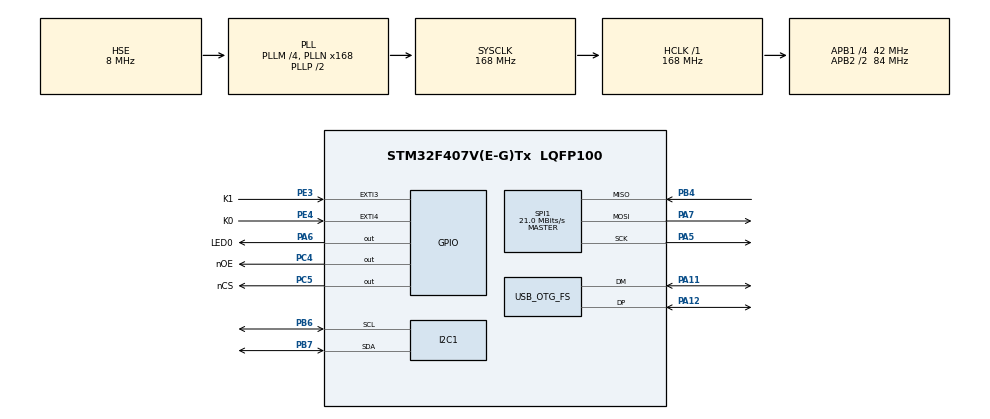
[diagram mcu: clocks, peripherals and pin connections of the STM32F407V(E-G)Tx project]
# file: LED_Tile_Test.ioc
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Mcu.Family=STM32F4
PE3.GPIO_ModeDefaultEXTI=GPIO_MODE_IT_FALLING
NVIC.EXTI4_IRQn=true\:0\:0\:false\:false\:true\:true\:true
USB_DEVICE.CLASS_NAME_FS=CDC
PH0-OSC_IN.Signal=RCC_OSC_IN
RCC.CortexFreq_Value=168000000
PA7.Mode=Full_Duplex_Master
SPI1.VirtualType=VM_MASTER
USB_DEVICE.VirtualModeFS=Cdc_FS
PC4.Signal=GPIO_Output
PE4.GPIO_ModeDefaultEXTI=GPIO_MODE_IT_FALLING
NVIC.EXTI3_IRQn=true\:0\:0\:false\:false\:true\:true\:true
PA11.Mode=Device_Only
PA6.GPIO_Label=LED0
USB_DEVICE.VirtualMode-CDC_FS=Cdc
RCC.APB1CLKDivider=RCC_HCLK_DIV4
PC5.GPIO_PuPd=GPIO_PULLUP
RCC.SYSCLKSource=RCC_SYSCLKSOURCE_PLLCLK
ProjectManager.StackSize=0x400
PA13.Signal=SYS_JTMS-SWDIO
PA12.Signal=USB_OTG_FS_DP
ProjectManager.TargetToolchain=STM32CubeIDE
I2C1.I2C_Mode=I2C_Fast
SPI1.Direction=SPI_DIRECTION_2LINES
RCC.HCLKFreq_Value=168000000
VP_USB_DEVICE_VS_USB_DEVICE_CDC_FS.Mode=CDC_FS
RCC.APB2TimFreq_Value=168000000
PB6.Signal=I2C1_SCL
PB6.Mode=I2C
SPI1.CalculateBaudRate=21.0 MBits/s
RCC.LSE_VALUE=32768
RCC.AHBFreq_Value=168000000
PH0-OSC_IN.Mode=HSE-External-Oscillator
PA5.Signal=SPI1_SCK
RCC.HSE_VALUE=8000000
board=custom
RCC.VCOOutputFreq_Value=336000000
RCC.APB2Freq_Value=84000000
PB4.Mode=Full_Duplex_Master
PC4.GPIO_Label=nOE
SPI1.Mode=SPI_MODE_MASTER
PA14.Mode=Serial_Wire
PE4.GPIO_Label=K0
PE3.GPIO_PuPd=GPIO_PULLUP
PH1-OSC_OUT.Signal=RCC_OSC_OUT
PB7.Signal=I2C1_SDA
PA13.Mode=Serial_Wire
PE4.Signal=GPXTI4
Mcu.Name=STM32F407V(E-G)Tx
VP_TIM1_VS_ClockSourceINT.Mode=Internal
PE4.GPIO_PuPd=GPIO_PULLUP
PH1-OSC_OUT.Mode=HSE-External-Oscillator
RCC.48MHZClocksFreq_Value=48000000
RCC.SYSCLKFreq_VALUE=168000000
Mcu.Package=LQFP100
PA6.Signal=GPIO_Output
PA12.Mode=Device_Only
PC5.GPIO_Label=nCS
NVIC.OTG_FS_IRQn=true\:0\:0\:false\:false\:true\:false\:true
PB7.Mode=I2C
PA11.Signal=USB_OTG_FS_DM
PA14.Signal=SYS_JTCK-SWCLK
USB_OTG_FS.VirtualMode=Device_Only
ProjectManager.HeapSize=0x200
NVIC.TIM1_UP_TIM10_IRQn=true\:0\:0\:false\:false\:true\:true\:true
RCC.HSI_VALUE=16000000
PA6.GPIO_ModeDefaultOutputPP=GPIO_MODE_OUTPUT_OD
RCC.PLLQ=7
NVIC.PriorityGroup=NVIC_PRIORITYGROUP_4
RCC.APB2CLKDivider=RCC_HCLK_DIV2
RCC.PLLM=4
RCC.PLLN=168
RCC.APB1TimFreq_Value=84000000
PE3.Signal=GPXTI3
PE3.GPIO_Label=K1
PC5.Signal=GPIO_Output
RCC.APB1Freq_Value=42000000
SPI1.BaudRatePrescaler=SPI_BAUDRATEPRESCALER_4
PB4.Signal=SPI1_MISO
PA5.Mode=Full_Duplex_Master
PA7.Signal=SPI1_MOSI

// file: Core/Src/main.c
/* USER CODE BEGIN Header */
/**
  ******************************************************************************
  * @file           : main.c
  * @brief          : Main program body
  ******************************************************************************
  * @attention
  *
  * <h2><center>&copy; Copyright (c) 2021 STMicroelectronics.
  * All rights reserved.</center></h2>
  *
  * This software component is licensed by ST under BSD 3-Clause license,
  * the "License"; You may not use this file except in compliance with the
  * License. You may obtain a copy of the License at:
  *                        opensource.org/licenses/BSD-3-Clause
  *
  ******************************************************************************
  */
/* USER CODE END Header */
#include "main.h"
#include "usb_device.h"

/* USER CODE BEGIN Includes */

#include "PCA9745/pca9745.h"
#include "LED_Tile/led_tile.h"
#include "math.h"

/* USER CODE END Includes */

I2C_HandleTypeDef hi2c1;

SPI_HandleTypeDef hspi1;

TIM_HandleTypeDef htim1;

/* USER CODE BEGIN PV */

float intensity = 1.0f;
LED_Tile tile;

/* USER CODE END PV */

void SystemClock_Config(void);
static void MX_GPIO_Init(void);
static void MX_I2C1_Init(void);
static void MX_SPI1_Init(void);
static void MX_TIM1_Init(void);

int main(void)
{

  /* MCU Configuration--------------------------------------------------------*/

  /* Reset of all peripherals, Initializes the Flash interface and the Systick. */
  HAL_Init();

  /* Configure the system clock */
  SystemClock_Config();

  /* Initialize all configured peripherals */
  MX_GPIO_Init();
  MX_I2C1_Init();
  MX_SPI1_Init();
  MX_USB_DEVICE_Init();
  MX_TIM1_Init();
  /* USER CODE BEGIN 2 */

  tile = Init_LED_Tile();

  for(uint8_t dev = 0; dev < NUM_TILES; dev++){
	  for(uint16_t i = 0; i < 6; i++){
		  LED_Tile_Set_LED_Intensity(&tile, dev, i, intensity);
	  }
  }

  _PCA9745_OE(tile.p, 0);

  /* USER CODE END 2 */

  /* Infinite loop */
  /* USER CODE BEGIN WHILE */

  while (1){
	LED_Tile_Test_All(&tile);
	LED_Tile_Clear_All(&tile);

	LED_Tile_Twinkle_Init(&tile, 500, 10);
	LED_Tile_Twinkle_Start(&tile, 100.0f);
	HAL_Delay(10000);
	LED_Tile_Twinkle_Stop(&tile);
    /* USER CODE END WHILE */

  }
}

void SystemClock_Config(void)
{
  RCC_OscInitTypeDef RCC_OscInitStruct = {0};
  RCC_ClkInitTypeDef RCC_ClkInitStruct = {0};

  /** Configure the main internal regulator output voltage
  */
  __HAL_RCC_PWR_CLK_ENABLE();
  __HAL_PWR_VOLTAGESCALING_CONFIG(PWR_REGULATOR_VOLTAGE_SCALE1);
  /** Initializes the RCC Oscillators according to the specified parameters
  * in the RCC_OscInitTypeDef structure.
  */
  RCC_OscInitStruct.OscillatorType = RCC_OSCILLATORTYPE_HSE;
  RCC_OscInitStruct.HSEState = RCC_HSE_ON;
  RCC_OscInitStruct.PLL.PLLState = RCC_PLL_ON;
  RCC_OscInitStruct.PLL.PLLSource = RCC_PLLSOURCE_HSE;
  RCC_OscInitStruct.PLL.PLLM = 4;
  RCC_OscInitStruct.PLL.PLLN = 168;
  RCC_OscInitStruct.PLL.PLLP = RCC_PLLP_DIV2;
  RCC_OscInitStruct.PLL.PLLQ = 7;
  if (HAL_RCC_OscConfig(&RCC_OscInitStruct) != HAL_OK)
  {
    Error_Handler();
  }
  /** Initializes the CPU, AHB and APB buses clocks
  */
  RCC_ClkInitStruct.ClockType = RCC_CLOCKTYPE_HCLK|RCC_CLOCKTYPE_SYSCLK
                              |RCC_CLOCKTYPE_PCLK1|RCC_CLOCKTYPE_PCLK2;
  RCC_ClkInitStruct.SYSCLKSource = RCC_SYSCLKSOURCE_PLLCLK;
  RCC_ClkInitStruct.AHBCLKDivider = RCC_SYSCLK_DIV1;
  RCC_ClkInitStruct.APB1CLKDivider = RCC_HCLK_DIV4;
  RCC_ClkInitStruct.APB2CLKDivider = RCC_HCLK_DIV2;

  if (HAL_RCC_ClockConfig(&RCC_ClkInitStruct, FLASH_LATENCY_5) != HAL_OK)
  {
    Error_Handler();
  }
}

static void MX_I2C1_Init(void)
{

  hi2c1.Instance = I2C1;
  hi2c1.Init.ClockSpeed = 400000;
  hi2c1.Init.DutyCycle = I2C_DUTYCYCLE_2;
  hi2c1.Init.OwnAddress1 = 0;
  hi2c1.Init.AddressingMode = I2C_ADDRESSINGMODE_7BIT;
  hi2c1.Init.DualAddressMode = I2C_DUALADDRESS_DISABLE;
  hi2c1.Init.OwnAddress2 = 0;
  hi2c1.Init.GeneralCallMode = I2C_GENERALCALL_DISABLE;
  hi2c1.Init.NoStretchMode = I2C_NOSTRETCH_DISABLE;
  if (HAL_I2C_Init(&hi2c1) != HAL_OK)
  {
    Error_Handler();
  }

}

static void MX_SPI1_Init(void)
{

  /* SPI1 parameter configuration*/
  hspi1.Instance = SPI1;
  hspi1.Init.Mode = SPI_MODE_MASTER;
  hspi1.Init.Direction = SPI_DIRECTION_2LINES;
  hspi1.Init.DataSize = SPI_DATASIZE_8BIT;
  hspi1.Init.CLKPolarity = SPI_POLARITY_LOW;
  hspi1.Init.CLKPhase = SPI_PHASE_1EDGE;
  hspi1.Init.NSS = SPI_NSS_SOFT;
  hspi1.Init.BaudRatePrescaler = SPI_BAUDRATEPRESCALER_4;
  hspi1.Init.FirstBit = SPI_FIRSTBIT_MSB;
  hspi1.Init.TIMode = SPI_TIMODE_DISABLE;
  hspi1.Init.CRCCalculation = SPI_CRCCALCULATION_DISABLE;
  hspi1.Init.CRCPolynomial = 10;
  if (HAL_SPI_Init(&hspi1) != HAL_OK)
  {
    Error_Handler();
  }

}

static void MX_TIM1_Init(void)
{

  TIM_ClockConfigTypeDef sClockSourceConfig = {0};
  TIM_MasterConfigTypeDef sMasterConfig = {0};

  htim1.Instance = TIM1;
  htim1.Init.Prescaler = 0;
  htim1.Init.CounterMode = TIM_COUNTERMODE_UP;
  htim1.Init.Period = 65535;
  htim1.Init.ClockDivision = TIM_CLOCKDIVISION_DIV1;
  htim1.Init.RepetitionCounter = 0;
  htim1.Init.AutoReloadPreload = TIM_AUTORELOAD_PRELOAD_DISABLE;
  if (HAL_TIM_Base_Init(&htim1) != HAL_OK)
  {
    Error_Handler();
  }
  sClockSourceConfig.ClockSource = TIM_CLOCKSOURCE_INTERNAL;
  if (HAL_TIM_ConfigClockSource(&htim1, &sClockSourceConfig) != HAL_OK)
  {
    Error_Handler();
  }
  sMasterConfig.MasterOutputTrigger = TIM_TRGO_RESET;
  sMasterConfig.MasterSlaveMode = TIM_MASTERSLAVEMODE_DISABLE;
  if (HAL_TIMEx_MasterConfigSynchronization(&htim1, &sMasterConfig) != HAL_OK)
  {
    Error_Handler();
  }

}

static void MX_GPIO_Init(void)
{
  GPIO_InitTypeDef GPIO_InitStruct = {0};

  /* GPIO Ports Clock Enable */
  __HAL_RCC_GPIOE_CLK_ENABLE();
  __HAL_RCC_GPIOH_CLK_ENABLE();
  __HAL_RCC_GPIOA_CLK_ENABLE();
  __HAL_RCC_GPIOC_CLK_ENABLE();
  __HAL_RCC_GPIOB_CLK_ENABLE();

  /*Configure GPIO pin Output Level */
  HAL_GPIO_WritePin(LED0_GPIO_Port, LED0_Pin, GPIO_PIN_RESET);

  /*Configure GPIO pin Output Level */
  HAL_GPIO_WritePin(GPIOC, nOE_Pin|nCS_Pin, GPIO_PIN_RESET);

  /*Configure GPIO pins : K1_Pin K0_Pin */
  GPIO_InitStruct.Pin = K1_Pin|K0_Pin;
  GPIO_InitStruct.Mode = GPIO_MODE_IT_FALLING;
  GPIO_InitStruct.Pull = GPIO_PULLUP;
  HAL_GPIO_Init(GPIOE, &GPIO_InitStruct);

  /*Configure GPIO pin : LED0_Pin */
  GPIO_InitStruct.Pin = LED0_Pin;
  GPIO_InitStruct.Mode = GPIO_MODE_OUTPUT_OD;
  GPIO_InitStruct.Pull = GPIO_NOPULL;
  GPIO_InitStruct.Speed = GPIO_SPEED_FREQ_LOW;
  HAL_GPIO_Init(LED0_GPIO_Port, &GPIO_InitStruct);

  /*Configure GPIO pin : nOE_Pin */
  GPIO_InitStruct.Pin = nOE_Pin;
  GPIO_InitStruct.Mode = GPIO_MODE_OUTPUT_PP;
  GPIO_InitStruct.Pull = GPIO_NOPULL;
  GPIO_InitStruct.Speed = GPIO_SPEED_FREQ_LOW;
  HAL_GPIO_Init(nOE_GPIO_Port, &GPIO_InitStruct);

  /*Configure GPIO pin : nCS_Pin */
  GPIO_InitStruct.Pin = nCS_Pin;
  GPIO_InitStruct.Mode = GPIO_MODE_OUTPUT_PP;
  GPIO_InitStruct.Pull = GPIO_PULLUP;
  GPIO_InitStruct.Speed = GPIO_SPEED_FREQ_LOW;
  HAL_GPIO_Init(nCS_GPIO_Port, &GPIO_InitStruct);

  /* EXTI interrupt init*/
  HAL_NVIC_SetPriority(EXTI3_IRQn, 0, 0);
  HAL_NVIC_EnableIRQ(EXTI3_IRQn);

  HAL_NVIC_SetPriority(EXTI4_IRQn, 0, 0);
  HAL_NVIC_EnableIRQ(EXTI4_IRQn);

}

/* USER CODE BEGIN 4 */

void HAL_GPIO_EXTI_Callback(uint16_t GPIO_Pin){
	if(GPIO_Pin == K1_Pin){
		intensity += 0.15f;

	}
	else if(GPIO_Pin == K0_Pin){
		intensity -= 0.15f;
	}
	for(uint16_t i = 0; i < 6; i++){
		LED_Tile_Set_LED_Intensity(&tile, 0, i, intensity);
	}
}

void HAL_TIM_PeriodElapsedCallback(TIM_HandleTypeDef *htim){
	if(htim == &htim1){
		LED_Tile_Twinkle_Update(&tile);
	}
}

/* USER CODE END 4 */

void Error_Handler(void)
{
  __disable_irq();
  while (1)
  {
  }
}

/************************ (C) COPYRIGHT STMicroelectronics *****END OF FILE****/
